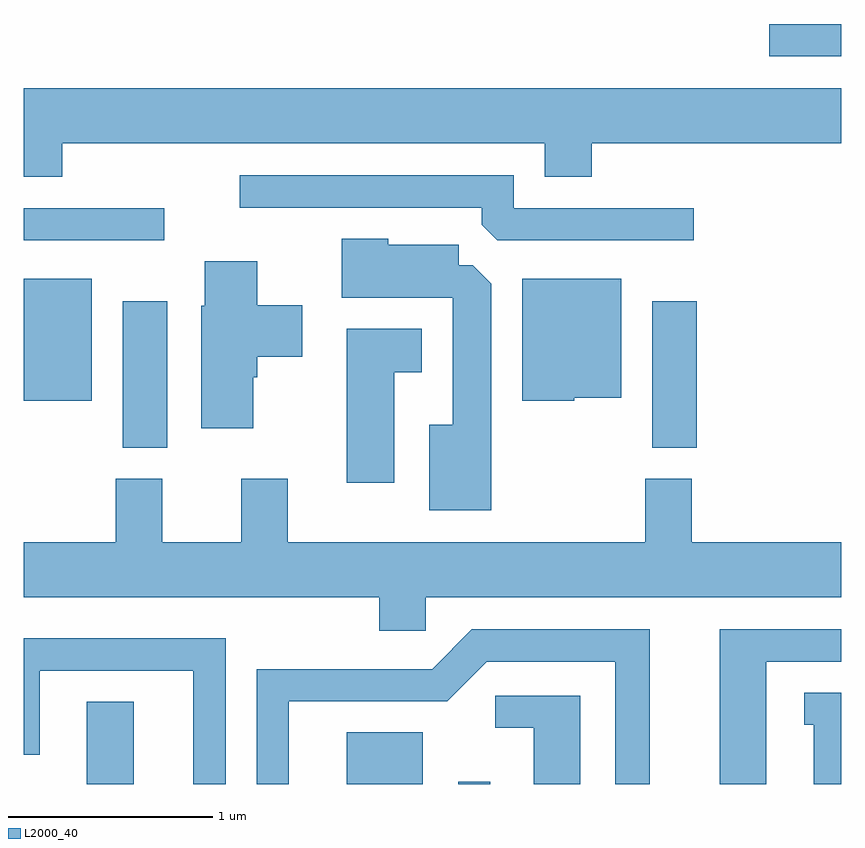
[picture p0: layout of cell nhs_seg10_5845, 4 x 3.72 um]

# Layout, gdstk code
import gdstk
lib = gdstk.Library(unit=1e-6, precision=1e-09)
def R(c, l, rs):  # rectangles x0, y0, x1, y1
    for r in rs: c.add(gdstk.rectangle(r[:2], r[2:], *l))
def P(c, l, *ps):  # polygons
    for p in ps: c.add(gdstk.Polygon(p, *l))
L2000_40 = (2000, 40)

nhs_seg10_5845 = lib.new_cell('nhs_seg10_5845')
R(nhs_seg10_5845, L2000_40, [(357.921,2148.522,358.149,2148.924), (359.191,2148.522,359.564,2148.774), (359.736,2148.522,359.894,2148.533), (358.096,2150.166,358.314,2150.884), (360.686,2150.166,360.904,2150.884), (357.611,2150.396,357.944,2150.994), (357.611,2151.181,358.298,2151.339), (361.258,2152.081,361.611,2152.239)])
P(nhs_seg10_5845, L2000_40, [(357.799,2151.656),(360.161,2151.656),(360.161,2151.491),(360.389,2151.491),(360.389,2151.656),(361.611,2151.656),(361.611,2151.924),(357.611,2151.924),(357.611,2151.491),(357.799,2151.491)],
  [(360.888,2151.339),(360.009,2151.339),(360.009,2151.499),(358.668,2151.499),(358.668,2151.341),(359.851,2151.341),(359.851,2151.257),(359.927,2151.181),(360.888,2151.181)],
  [(359.899,2150.969),(359.809,2151.059),(359.739,2151.059),(359.739,2151.159),(359.394,2151.159),(359.394,2151.189),(359.166,2151.189),(359.166,2150.901),(359.711,2150.901),(359.711,2150.279),(359.596,2150.279),(359.596,2149.861),(359.899,2149.861)],
  [(358.734,2150.511),(358.754,2150.511),(358.754,2150.611),(358.974,2150.611),(358.974,2150.864),(358.754,2150.864),(358.754,2151.079),(358.496,2151.079),(358.496,2150.86),(358.481,2150.86),(358.481,2150.261),(358.734,2150.261)],
  [(360.305,2150.411),(360.534,2150.411),(360.534,2150.994),(360.051,2150.994),(360.051,2150.396),(360.305,2150.396)],
  [(359.424,2150.536),(359.559,2150.536),(359.559,2150.749),(359.191,2150.749),(359.191,2149.996),(359.424,2149.996)],
  [(359.579,2149.436),(361.611,2149.436),(361.611,2149.704),(360.879,2149.704),(360.879,2150.014),(360.651,2150.014),(360.651,2149.704),(358.904,2149.704),(358.904,2150.014),(358.676,2150.014),(358.676,2149.704),(358.289,2149.704),(358.289,2150.014),(358.061,2150.014),(358.061,2149.704),(357.611,2149.704),(357.611,2149.436),(359.351,2149.436),(359.351,2149.271),(359.579,2149.271)],
  [(361.244,2149.121),(361.611,2149.121),(361.611,2149.279),(361.016,2149.279),(361.016,2148.522),(361.244,2148.522)],
  [(358.909,2148.926),(359.682,2148.926),(359.877,2149.121),(360.506,2149.121),(360.506,2148.522),(360.674,2148.522),(360.674,2149.279),(359.804,2149.279),(359.609,2149.084),(358.751,2149.084),(358.751,2148.522),(358.909,2148.522)],
  [(358.599,2149.234),(357.611,2149.234),(357.611,2148.666),(357.689,2148.666),(357.689,2149.076),(358.441,2149.076),(358.441,2148.522),(358.599,2148.522)],
  [(361.611,2148.969),(361.428,2148.969),(361.428,2148.811),(361.476,2148.811),(361.476,2148.522),(361.611,2148.522)],
  [(360.334,2148.954),(359.918,2148.954),(359.918,2148.796),(360.106,2148.796),(360.106,2148.522),(360.334,2148.522)])

lib.write_gds('nhs_seg10_5845.gds')
